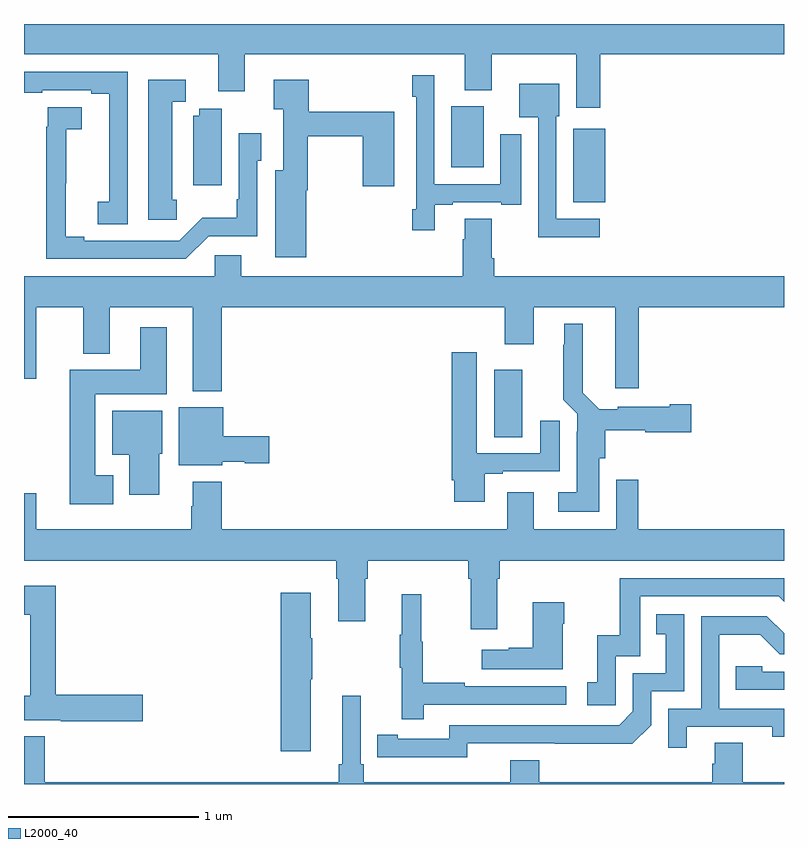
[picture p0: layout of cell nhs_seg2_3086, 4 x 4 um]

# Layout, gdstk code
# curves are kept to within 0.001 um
import gdstk
lib = gdstk.Library(unit=1e-6, precision=1e-09)
def R(c, l, rs):  # rectangles x0, y0, x1, y1
    for r in rs: c.add(gdstk.rectangle(r[:2], r[2:], *l))
def P(c, l, *ps):  # polygons
    for p in ps: c.add(gdstk.Polygon(p, *l))
L2000_40 = (2000, 40)

nhs_seg2_3086 = lib.new_cell('nhs_seg2_3086')
R(nhs_seg2_3086, L2000_40, [(275.474,641.626,275.623,641.98), (275.891,642.863,276.058,643.249), (275.249,643.046,275.419,643.366)])
P(nhs_seg2_3086, L2000_40, [(276.032,643.64),(277,643.64),(277,643.8),(273,643.8),(273,643.64),(274.022,643.64),(274.022,643.446),(274.162,643.446),(274.162,643.64),(275.321,643.64),(275.321,643.451),(275.461,643.451),(275.461,643.64),(275.906,643.64),(275.906,643.359),(276.032,643.359)],
  [(273.546,643.548),(273,643.548),(273,643.438),(273.097,643.438),(273.097,643.452),(273.353,643.452),(273.353,643.432),(273.449,643.432),(273.449,643.169),(273.448,643.169),(273.448,642.865),(273.387,642.865),(273.387,642.745),(273.546,642.745)],
  [(275.161,642.849),(275.257,642.849),(275.257,642.861),(275.513,642.861),(275.513,642.849),(275.617,642.849),(275.617,643.219),(275.507,643.219),(275.507,642.957),(275.16,642.957),(275.16,643.531),(275.044,643.531),(275.044,643.418),(275.064,643.418),(275.064,642.826),(275.044,642.826),(275.044,642.714),(275.161,642.714)],
  [(274.486,642.926),(274.494,642.926),(274.494,643.21),(274.783,643.21),(274.783,642.945),(274.948,642.945),(274.948,643.339),(274.499,643.339),(274.499,643.507),(274.314,643.507),(274.314,643.351),(274.364,643.351),(274.364,643.03),(274.322,643.03),(274.322,642.573),(274.486,642.573)],
  [(273.803,642.876),(273.781,642.876),(273.781,643.392),(273.85,643.392),(273.85,643.507),(273.653,643.507),(273.653,642.771),(273.803,642.771)],
  [(276.031,642.774),(275.802,642.774),(275.802,643.314),(275.818,643.314),(275.818,643.486),(275.606,643.486),(275.606,643.31),(275.706,643.31),(275.706,642.677),(276.031,642.677)],
  [(273.972,642.684),(274.227,642.684),(274.227,643.08),(274.248,643.08),(274.248,643.225),(274.131,643.225),(274.131,642.877),(274.119,642.877),(274.119,642.781),(273.937,642.781),(273.816,642.66),(273.316,642.66),(273.316,642.68),(273.22,642.68),(273.222,643.246),(273.304,643.246),(273.304,643.361),(273.124,643.361),(273.124,643.259),(273.118,643.259),(273.118,642.564),(273.852,642.564)],
  [(274.042,643.355),(273.922,643.355),(273.922,643.318),(273.89,643.318),(273.89,642.951),(274.042,642.951)],
  [(274.04,642.308),(275.531,642.308),(275.531,642.114),(275.683,642.114),(275.683,642.308),(276.113,642.308),(276.113,641.883),(276.236,641.883),(276.236,642.308),(277,642.308),(277,642.472),(275.474,642.472),(275.474,642.568),(275.461,642.568),(275.461,642.776),(275.321,642.776),(275.321,642.668),(275.309,642.668),(275.309,642.472),(274.144,642.472),(274.144,642.582),(274.005,642.582),(274.005,642.472),(273,642.472),(273,641.934),(273.064,641.934),(273.064,642.308),(273.311,642.308),(273.311,642.065),(273.451,642.065),(273.451,642.308),(273.887,642.308),(273.887,641.867),(274.04,641.867)],
  [(276.028,641.514),(276.059,641.514),(276.059,641.663),(276.27,641.663),(276.27,641.651),(276.511,641.651),(276.511,641.798),(276.398,641.798),(276.398,641.785),(276.126,641.785),(276.126,641.773),(276.027,641.773),(275.941,641.86),(275.941,642.223),(275.843,642.223),(275.843,642.113),(275.839,642.113),(275.839,641.822),(275.913,641.748),(275.913,641.654),(275.909,641.654),(275.909,641.335),(275.811,641.335),(275.811,641.234),(276.028,641.234)],
  [(273.469,641.425),(273.376,641.425),(273.376,641.852),(273.751,641.852),(273.751,642.205),(273.611,642.205),(273.611,641.98),(273.242,641.98),(273.242,641.273),(273.469,641.273)],
  [(275.425,641.433),(275.521,641.433),(275.521,641.445),(275.821,641.445),(275.821,641.713),(275.717,641.713),(275.717,641.541),(275.383,641.541),(275.383,642.073),(275.252,642.073),(275.252,641.398),(275.264,641.398),(275.264,641.286),(275.425,641.286)],
  [(274.044,641.495),(274.161,641.495),(274.161,641.488),(274.291,641.488),(274.291,641.63),(274.048,641.63),(274.048,641.782),(273.815,641.782),(273.815,641.477),(274.044,641.477)],
  [(273.712,641.538),(273.727,641.538),(273.727,641.764),(273.464,641.764),(273.464,641.534),(273.554,641.534),(273.554,641.322),(273.712,641.322)],
  [(275.491,640.88),(275.504,640.88),(275.504,640.976),(277,640.976),(277,641.14),(276.233,641.14),(276.233,641.401),(276.117,641.401),(276.117,641.14),(275.683,641.14),(275.683,641.335),(275.543,641.335),(275.543,641.14),(274.04,641.14),(274.04,641.392),(273.887,641.392),(273.887,641.261),(273.88,641.261),(273.88,641.14),(273.064,641.14),(273.064,641.329),(273,641.329),(273,640.976),(274.643,640.976),(274.643,640.88),(274.655,640.88),(274.655,640.656),(274.795,640.656),(274.795,640.88),(274.808,640.88),(274.808,640.976),(275.339,640.976),(275.339,640.88),(275.351,640.88),(275.351,640.614),(275.491,640.614)],
  [(276.114,640.473),(276.243,640.473),(276.243,640.788),(276.972,640.788),(277,640.76),(277,640.884),(276.135,640.884),(276.135,640.582),(276.017,640.582),(276.017,640.335),(275.964,640.335),(275.964,640.215),(276.114,640.215)],
  [(273.625,640.271),(273.167,640.271),(273.167,640.843),(273,640.843),(273,640.691),(273.032,640.691),(273.032,640.264),(273,640.264),(273,640.136),(273.193,640.136),(273.193,640.129),(273.625,640.129)],
  [(274.51,640.351),(274.518,640.351),(274.518,640.568),(274.51,640.568),(274.51,640.807),(274.352,640.807),(274.352,639.972),(274.51,639.972)],
  [(275.105,640.218),(275.854,640.218),(275.854,640.314),(275.321,640.314),(275.321,640.334),(275.098,640.334),(275.098,640.548),(275.09,640.548),(275.09,640.798),(274.988,640.798),(274.988,640.585),(274.977,640.585),(274.977,640.411),(274.988,640.411),(274.988,640.14),(275.105,640.14)],
  [(275.836,640.643),(275.844,640.643),(275.844,640.756),(275.678,640.756),(275.678,640.517),(275.552,640.517),(275.552,640.507),(275.409,640.507),(275.409,640.403),(275.836,640.403)],
  [(275.334,640.014),(276.202,640.013),(276.3,640.11),(276.3,640.287),(276.474,640.287),(276.474,640.693),(276.328,640.693),(276.328,640.587),(276.377,640.587),(276.377,640.383),(276.204,640.383),(276.204,640.182),(276.132,640.11),(275.238,640.11),(275.238,640.038),(274.966,640.038),(274.966,640.058),(274.858,640.058),(274.858,639.942),(275.334,639.941)],
  [(276.487,640.101),(276.938,640.101),(276.938,640.05),(277,640.05),(277,640.197),(276.66,640.197),(276.66,640.586),(276.874,640.586),(276.978,640.482),(277,640.482),(277,640.593),(276.91,640.683),(276.564,640.683),(276.564,640.197),(276.39,640.197),(276.39,639.99),(276.487,639.99)],
  [(277,640.392),(276.885,640.392),(276.885,640.419),(276.745,640.419),(276.745,640.296),(277,640.296)],
  [(277,639.808),(276.783,639.808),(276.783,640.016),(276.635,640.016),(276.635,639.906),(276.623,639.906),(276.623,639.808),(275.711,639.808),(275.711,639.925),(275.558,639.925),(275.558,639.808),(274.787,639.808),(274.787,639.904),(274.773,639.904),(274.773,640.264),(274.676,640.264),(274.676,639.904),(274.657,639.904),(274.657,639.808),(273.11,639.808),(273.11,640.051),(273,640.051),(273,639.8),(277,639.8)])

lib.write_gds('nhs_seg2_3086.gds')
